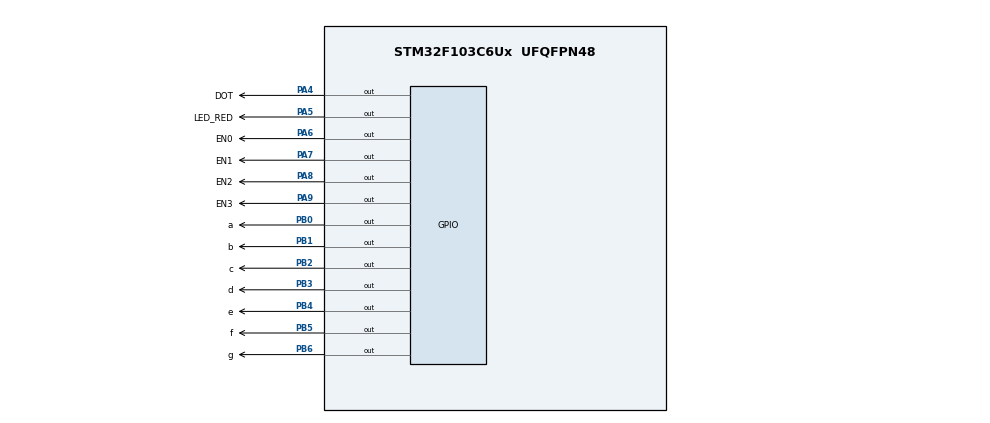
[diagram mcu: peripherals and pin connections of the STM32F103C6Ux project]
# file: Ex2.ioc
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Mcu.Family=STM32F1
Mcu.Name=STM32F103C6Ux
Mcu.Package=UFQFPN48
NVIC.PriorityGroup=NVIC_PRIORITYGROUP_4
NVIC.TIM2_IRQn=true\:0\:0\:false\:false\:true\:true\:true
PA4.GPIO_Label=DOT
PA4.Signal=GPIO_Output
PA5.GPIO_Label=LED_RED
PA5.Signal=GPIO_Output
PA6.GPIO_Label=EN0
PA6.Signal=GPIO_Output
PA7.GPIO_Label=EN1
PA7.Signal=GPIO_Output
PA8.GPIO_Label=EN2
PA8.Signal=GPIO_Output
PA9.GPIO_Label=EN3
PA9.Signal=GPIO_Output
PB0.GPIO_Label=a
PB0.Signal=GPIO_Output
PB1.GPIO_Label=b
PB1.Signal=GPIO_Output
PB2.GPIO_Label=c
PB2.Signal=GPIO_Output
PB3.GPIO_Label=d
PB3.Signal=GPIO_Output
PB4.GPIO_Label=e
PB4.Signal=GPIO_Output
PB5.GPIO_Label=f
PB5.Signal=GPIO_Output
PB6.GPIO_Label=g
PB6.Signal=GPIO_Output
ProjectManager.HeapSize=0x200
ProjectManager.StackSize=0x400
ProjectManager.TargetToolchain=STM32CubeIDE
RCC.APB1Freq_Value=8000000
RCC.APB2Freq_Value=8000000
TIM2.Period=9
TIM2.Prescaler=7999
VP_SYS_VS_ND.Mode=No_Debug
VP_TIM2_VS_ClockSourceINT.Mode=Internal
board=custom

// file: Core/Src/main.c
/* USER CODE BEGIN Header */
/**
  ******************************************************************************
  * @file           : main.c
  * @brief          : Main program body
  ******************************************************************************
  * @attention
  *
  * <h2><center>&copy; Copyright (c) 2023 STMicroelectronics.
  * All rights reserved.</center></h2>
  *
  * This software component is licensed by ST under BSD 3-Clause license,
  * the "License"; You may not use this file except in compliance with the
  * License. You may obtain a copy of the License at:
  *                        opensource.org/licenses/BSD-3-Clause
  *
  ******************************************************************************
  */
/* USER CODE END Header */
#include "main.h"
#include "software_timer.h"

TIM_HandleTypeDef htim2;

void SystemClock_Config(void);
static void MX_GPIO_Init(void);
static void MX_TIM2_Init(void);

/* USER CODE BEGIN 0 */
void display7SEG(int num){
	if (num == 0){
		HAL_GPIO_WritePin(a_GPIO_Port, a_Pin, GPIO_PIN_RESET);
		HAL_GPIO_WritePin(b_GPIO_Port, b_Pin, GPIO_PIN_RESET);
		HAL_GPIO_WritePin(c_GPIO_Port, c_Pin, GPIO_PIN_RESET);
		HAL_GPIO_WritePin(d_GPIO_Port, d_Pin, GPIO_PIN_RESET);
		HAL_GPIO_WritePin(e_GPIO_Port, e_Pin, GPIO_PIN_RESET);
		HAL_GPIO_WritePin(f_GPIO_Port, f_Pin, GPIO_PIN_RESET);
		HAL_GPIO_WritePin(g_GPIO_Port, g_Pin, GPIO_PIN_SET);
	}
	if (num == 1){
		HAL_GPIO_WritePin(a_GPIO_Port, a_Pin, GPIO_PIN_SET);
		HAL_GPIO_WritePin(b_GPIO_Port, b_Pin, GPIO_PIN_RESET);
		HAL_GPIO_WritePin(c_GPIO_Port, c_Pin, GPIO_PIN_RESET);
		HAL_GPIO_WritePin(d_GPIO_Port, d_Pin, GPIO_PIN_SET);
		HAL_GPIO_WritePin(e_GPIO_Port, e_Pin, GPIO_PIN_SET);
		HAL_GPIO_WritePin(f_GPIO_Port, f_Pin, GPIO_PIN_SET);
		HAL_GPIO_WritePin(g_GPIO_Port, g_Pin, GPIO_PIN_SET);
	}
	if (num == 2){
		HAL_GPIO_WritePin(a_GPIO_Port, a_Pin, GPIO_PIN_RESET);
		HAL_GPIO_WritePin(b_GPIO_Port, b_Pin, GPIO_PIN_RESET);
		HAL_GPIO_WritePin(c_GPIO_Port, c_Pin, GPIO_PIN_SET);
		HAL_GPIO_WritePin(d_GPIO_Port, d_Pin, GPIO_PIN_RESET);
		HAL_GPIO_WritePin(e_GPIO_Port, e_Pin, GPIO_PIN_RESET);
		HAL_GPIO_WritePin(f_GPIO_Port, f_Pin, GPIO_PIN_SET);
		HAL_GPIO_WritePin(g_GPIO_Port, g_Pin, GPIO_PIN_RESET);
	}
	if (num == 3){
		HAL_GPIO_WritePin(a_GPIO_Port, a_Pin, GPIO_PIN_RESET);
		HAL_GPIO_WritePin(b_GPIO_Port, b_Pin, GPIO_PIN_RESET);
		HAL_GPIO_WritePin(c_GPIO_Port, c_Pin, GPIO_PIN_RESET);
		HAL_GPIO_WritePin(d_GPIO_Port, d_Pin, GPIO_PIN_RESET);
		HAL_GPIO_WritePin(e_GPIO_Port, e_Pin, GPIO_PIN_SET);
		HAL_GPIO_WritePin(f_GPIO_Port, f_Pin, GPIO_PIN_SET);
		HAL_GPIO_WritePin(g_GPIO_Port, g_Pin, GPIO_PIN_RESET);
	}
	if (num == 4){
		HAL_GPIO_WritePin(a_GPIO_Port, a_Pin, GPIO_PIN_SET);
		HAL_GPIO_WritePin(b_GPIO_Port, b_Pin, GPIO_PIN_RESET);
		HAL_GPIO_WritePin(c_GPIO_Port, c_Pin, GPIO_PIN_RESET);
		HAL_GPIO_WritePin(d_GPIO_Port, d_Pin, GPIO_PIN_SET);
		HAL_GPIO_WritePin(e_GPIO_Port, e_Pin, GPIO_PIN_SET);
		HAL_GPIO_WritePin(f_GPIO_Port, f_Pin, GPIO_PIN_RESET);
		HAL_GPIO_WritePin(g_GPIO_Port, g_Pin, GPIO_PIN_RESET);
	}
	if (num == 5){
		HAL_GPIO_WritePin(a_GPIO_Port, a_Pin, GPIO_PIN_RESET);
		HAL_GPIO_WritePin(b_GPIO_Port, b_Pin, GPIO_PIN_SET);
		HAL_GPIO_WritePin(c_GPIO_Port, c_Pin, GPIO_PIN_RESET);
		HAL_GPIO_WritePin(d_GPIO_Port, d_Pin, GPIO_PIN_RESET);
		HAL_GPIO_WritePin(e_GPIO_Port, e_Pin, GPIO_PIN_SET);
		HAL_GPIO_WritePin(f_GPIO_Port, f_Pin, GPIO_PIN_RESET);
		HAL_GPIO_WritePin(g_GPIO_Port, g_Pin, GPIO_PIN_RESET);
	}
	if (num == 6){
		HAL_GPIO_WritePin(a_GPIO_Port, a_Pin, GPIO_PIN_RESET);
		HAL_GPIO_WritePin(b_GPIO_Port, b_Pin, GPIO_PIN_SET);
		HAL_GPIO_WritePin(c_GPIO_Port, c_Pin, GPIO_PIN_RESET);
		HAL_GPIO_WritePin(d_GPIO_Port, d_Pin, GPIO_PIN_RESET);
		HAL_GPIO_WritePin(e_GPIO_Port, e_Pin, GPIO_PIN_RESET);
		HAL_GPIO_WritePin(f_GPIO_Port, f_Pin, GPIO_PIN_RESET);
		HAL_GPIO_WritePin(g_GPIO_Port, g_Pin, GPIO_PIN_RESET);
	}
	if (num == 7){
		HAL_GPIO_WritePin(a_GPIO_Port, a_Pin, GPIO_PIN_RESET);
		HAL_GPIO_WritePin(b_GPIO_Port, b_Pin, GPIO_PIN_RESET);
		HAL_GPIO_WritePin(c_GPIO_Port, c_Pin, GPIO_PIN_RESET);
		HAL_GPIO_WritePin(d_GPIO_Port, d_Pin, GPIO_PIN_SET);
		HAL_GPIO_WritePin(e_GPIO_Port, e_Pin, GPIO_PIN_SET);
		HAL_GPIO_WritePin(f_GPIO_Port, f_Pin, GPIO_PIN_SET);
		HAL_GPIO_WritePin(g_GPIO_Port, g_Pin, GPIO_PIN_SET);
	}
	if (num == 8){
		HAL_GPIO_WritePin(a_GPIO_Port, a_Pin, GPIO_PIN_RESET);
		HAL_GPIO_WritePin(b_GPIO_Port, b_Pin, GPIO_PIN_RESET);
		HAL_GPIO_WritePin(c_GPIO_Port, c_Pin, GPIO_PIN_RESET);
		HAL_GPIO_WritePin(d_GPIO_Port, d_Pin, GPIO_PIN_RESET);
		HAL_GPIO_WritePin(e_GPIO_Port, e_Pin, GPIO_PIN_RESET);
		HAL_GPIO_WritePin(f_GPIO_Port, f_Pin, GPIO_PIN_RESET);
		HAL_GPIO_WritePin(g_GPIO_Port, g_Pin, GPIO_PIN_RESET);
	}
	if (num == 9) {
		HAL_GPIO_WritePin(a_GPIO_Port, a_Pin, GPIO_PIN_RESET);
		HAL_GPIO_WritePin(b_GPIO_Port, b_Pin, GPIO_PIN_RESET);
		HAL_GPIO_WritePin(c_GPIO_Port, c_Pin, GPIO_PIN_RESET);
		HAL_GPIO_WritePin(d_GPIO_Port, d_Pin, GPIO_PIN_RESET);
		HAL_GPIO_WritePin(e_GPIO_Port, e_Pin, GPIO_PIN_SET);
		HAL_GPIO_WritePin(f_GPIO_Port, f_Pin, GPIO_PIN_RESET);
		HAL_GPIO_WritePin(g_GPIO_Port, g_Pin, GPIO_PIN_RESET);
	}
}
/* USER CODE END 0 */

int main(void)
{

  /* MCU Configuration--------------------------------------------------------*/

  /* Reset of all peripherals, Initializes the Flash interface and the Systick. */
  HAL_Init();

  /* USER CODE BEGIN Init */
  int status = 1;
  setTimer1(50);
  setTimer2(100);
  setTimer3(100);
  /* USER CODE END Init */

  /* Configure the system clock */
  SystemClock_Config();

  /* Initialize all configured peripherals */
  MX_GPIO_Init();
  MX_TIM2_Init();
  /* USER CODE BEGIN 2 */
  HAL_TIM_Base_Start_IT(&htim2);
  /* USER CODE END 2 */

  /* Infinite loop */
  /* USER CODE BEGIN WHILE */
  while (1)
    {
  	  if (timer1_flag == 1){
  		  switch(status){
  		  case 1:
  		  	display7SEG(1);
  		  	setTimer1(50);
  		  	status = 2;
  		  	HAL_GPIO_WritePin(EN0_GPIO_Port, EN0_Pin, RESET);
  		  	HAL_GPIO_WritePin(EN1_GPIO_Port, EN1_Pin, SET);
 		  	HAL_GPIO_WritePin(EN2_GPIO_Port, EN2_Pin, SET);
  		  	HAL_GPIO_WritePin(EN3_GPIO_Port, EN3_Pin, SET);
  		  	break;
  		  case 2:
  		  	display7SEG(2);
  		  	setTimer1(50);
  		  	status = 3;
  		  	HAL_GPIO_WritePin(EN0_GPIO_Port, EN0_Pin, SET);
  		  	HAL_GPIO_WritePin(EN1_GPIO_Port, EN1_Pin, RESET);
 		  	HAL_GPIO_WritePin(EN2_GPIO_Port, EN2_Pin, SET);
  		  	HAL_GPIO_WritePin(EN3_GPIO_Port, EN3_Pin, SET);
  		  	break;
  		  case 3:
  		  	display7SEG(3);
  		  	setTimer1(50);
  		  	status = 0;
  		  	HAL_GPIO_WritePin(EN0_GPIO_Port, EN0_Pin, SET);
  		  	HAL_GPIO_WritePin(EN1_GPIO_Port, EN1_Pin, SET);
 		  	HAL_GPIO_WritePin(EN2_GPIO_Port, EN2_Pin, RESET);
  		  	HAL_GPIO_WritePin(EN3_GPIO_Port, EN3_Pin, SET);
  		  	break;
  		  case 0:
  		  	display7SEG(0);
  		  	setTimer1(50);
  		  	status = 1;
  		  	HAL_GPIO_WritePin(EN0_GPIO_Port, EN0_Pin, SET);
  		  	HAL_GPIO_WritePin(EN1_GPIO_Port, EN1_Pin, SET);
 		  	HAL_GPIO_WritePin(EN2_GPIO_Port, EN2_Pin, SET);
  		  	HAL_GPIO_WritePin(EN3_GPIO_Port, EN3_Pin, RESET);
  		  	break;
  		  default:
  		  	break;
  		  }
  	  }
  	  if (timer2_flag == 1){
  		  HAL_GPIO_TogglePin(LED_RED_GPIO_Port, LED_RED_Pin);
  		  setTimer2(100);
  	  }
  	  if (timer3_flag == 1){
  		  HAL_GPIO_TogglePin(DOT_GPIO_Port, DOT_Pin);
  		  setTimer3(100);
  	  }
  	}
  /* USER CODE END 3 */
}

void SystemClock_Config(void)
{
  RCC_OscInitTypeDef RCC_OscInitStruct = {0};
  RCC_ClkInitTypeDef RCC_ClkInitStruct = {0};

  /** Initializes the RCC Oscillators according to the specified parameters
  * in the RCC_OscInitTypeDef structure.
  */
  RCC_OscInitStruct.OscillatorType = RCC_OSCILLATORTYPE_HSI;
  RCC_OscInitStruct.HSIState = RCC_HSI_ON;
  RCC_OscInitStruct.HSICalibrationValue = RCC_HSICALIBRATION_DEFAULT;
  RCC_OscInitStruct.PLL.PLLState = RCC_PLL_NONE;
  if (HAL_RCC_OscConfig(&RCC_OscInitStruct) != HAL_OK)
  {
    Error_Handler();
  }
  /** Initializes the CPU, AHB and APB buses clocks
  */
  RCC_ClkInitStruct.ClockType = RCC_CLOCKTYPE_HCLK|RCC_CLOCKTYPE_SYSCLK
                              |RCC_CLOCKTYPE_PCLK1|RCC_CLOCKTYPE_PCLK2;
  RCC_ClkInitStruct.SYSCLKSource = RCC_SYSCLKSOURCE_HSI;
  RCC_ClkInitStruct.AHBCLKDivider = RCC_SYSCLK_DIV1;
  RCC_ClkInitStruct.APB1CLKDivider = RCC_HCLK_DIV1;
  RCC_ClkInitStruct.APB2CLKDivider = RCC_HCLK_DIV1;

  if (HAL_RCC_ClockConfig(&RCC_ClkInitStruct, FLASH_LATENCY_0) != HAL_OK)
  {
    Error_Handler();
  }
}

static void MX_TIM2_Init(void)
{

  TIM_ClockConfigTypeDef sClockSourceConfig = {0};
  TIM_MasterConfigTypeDef sMasterConfig = {0};

  htim2.Instance = TIM2;
  htim2.Init.Prescaler = 7999;
  htim2.Init.CounterMode = TIM_COUNTERMODE_UP;
  htim2.Init.Period = 9;
  htim2.Init.ClockDivision = TIM_CLOCKDIVISION_DIV1;
  htim2.Init.AutoReloadPreload = TIM_AUTORELOAD_PRELOAD_DISABLE;
  if (HAL_TIM_Base_Init(&htim2) != HAL_OK)
  {
    Error_Handler();
  }
  sClockSourceConfig.ClockSource = TIM_CLOCKSOURCE_INTERNAL;
  if (HAL_TIM_ConfigClockSource(&htim2, &sClockSourceConfig) != HAL_OK)
  {
    Error_Handler();
  }
  sMasterConfig.MasterOutputTrigger = TIM_TRGO_RESET;
  sMasterConfig.MasterSlaveMode = TIM_MASTERSLAVEMODE_DISABLE;
  if (HAL_TIMEx_MasterConfigSynchronization(&htim2, &sMasterConfig) != HAL_OK)
  {
    Error_Handler();
  }

}

static void MX_GPIO_Init(void)
{
  GPIO_InitTypeDef GPIO_InitStruct = {0};

  /* GPIO Ports Clock Enable */
  __HAL_RCC_GPIOA_CLK_ENABLE();
  __HAL_RCC_GPIOB_CLK_ENABLE();

  /*Configure GPIO pin Output Level */
  HAL_GPIO_WritePin(GPIOA, DOT_Pin|LED_RED_Pin|EN0_Pin|EN1_Pin
                          |EN2_Pin|EN3_Pin, GPIO_PIN_RESET);

  /*Configure GPIO pin Output Level */
  HAL_GPIO_WritePin(GPIOB, a_Pin|b_Pin|c_Pin|d_Pin
                          |e_Pin|f_Pin|g_Pin, GPIO_PIN_RESET);

  /*Configure GPIO pins : DOT_Pin LED_RED_Pin EN0_Pin EN1_Pin
                           EN2_Pin EN3_Pin */
  GPIO_InitStruct.Pin = DOT_Pin|LED_RED_Pin|EN0_Pin|EN1_Pin
                          |EN2_Pin|EN3_Pin;
  GPIO_InitStruct.Mode = GPIO_MODE_OUTPUT_PP;
  GPIO_InitStruct.Pull = GPIO_NOPULL;
  GPIO_InitStruct.Speed = GPIO_SPEED_FREQ_LOW;
  HAL_GPIO_Init(GPIOA, &GPIO_InitStruct);

  /*Configure GPIO pins : a_Pin b_Pin c_Pin d_Pin
                           e_Pin f_Pin g_Pin */
  GPIO_InitStruct.Pin = a_Pin|b_Pin|c_Pin|d_Pin
                          |e_Pin|f_Pin|g_Pin;
  GPIO_InitStruct.Mode = GPIO_MODE_OUTPUT_PP;
  GPIO_InitStruct.Pull = GPIO_NOPULL;
  GPIO_InitStruct.Speed = GPIO_SPEED_FREQ_LOW;
  HAL_GPIO_Init(GPIOB, &GPIO_InitStruct);

}

/* USER CODE BEGIN 4 */
void HAL_TIM_PeriodElapsedCallback(TIM_HandleTypeDef *htim){
	timerRun();
}
/* USER CODE END 4 */

void Error_Handler(void)
{
  __disable_irq();
  while (1)
  {
  }
}

/************************ (C) COPYRIGHT STMicroelectronics *****END OF FILE****/
